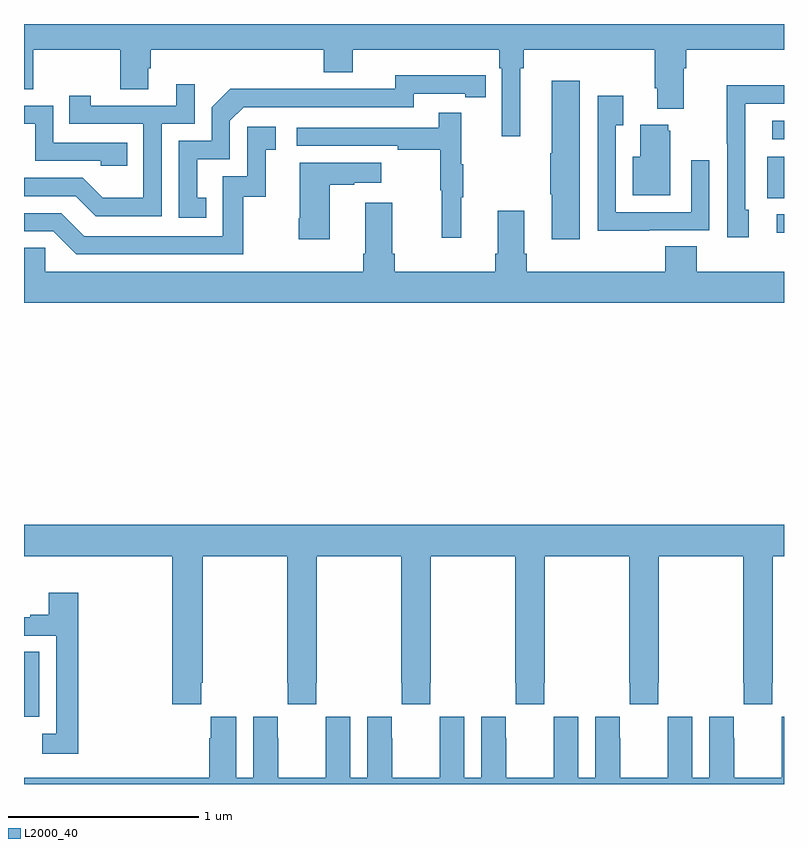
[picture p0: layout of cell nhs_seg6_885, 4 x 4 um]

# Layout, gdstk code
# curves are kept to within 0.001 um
import gdstk
lib = gdstk.Library(unit=1e-6, precision=1e-09)
def R(c, l, rs):  # rectangles x0, y0, x1, y1
    for r in rs: c.add(gdstk.rectangle(r[:2], r[2:], *l))
def P(c, l, *ps):  # polygons
    for p in ps: c.add(gdstk.Polygon(p, *l))
L2000_40 = (2000, 40)

nhs_seg6_885 = lib.new_cell('nhs_seg6_885')
R(nhs_seg6_885, L2000_40, [(167,915.853,167.08,916.196), (170.961,918.401,171,918.498), (170.912,918.583,171,918.802), (170.937,918.894,171,918.99)])
P(nhs_seg6_885, L2000_40, [(169.612,919.268),(169.631,919.268),(169.631,919.364),(170.321,919.364),(170.321,919.162),(170.333,919.162),(170.333,919.055),(170.473,919.055),(170.473,919.268),(170.486,919.268),(170.486,919.364),(171,919.364),(171,919.5),(167,919.5),(167,919.156),(167.049,919.156),(167.049,919.364),(167.506,919.364),(167.506,919.156),(167.653,919.156),(167.653,919.266),(167.666,919.266),(167.666,919.364),(168.578,919.364),(168.578,919.247),(168.73,919.247),(168.73,919.364),(169.502,919.364),(169.502,919.268),(169.515,919.268),(169.515,918.909),(169.612,918.909)],
  [(167.96,918.585),(167.911,918.585),(167.911,918.789),(168.084,918.789),(168.084,918.99),(168.156,919.062),(169.05,919.062),(169.05,919.134),(169.322,919.134),(169.322,919.114),(169.43,919.114),(169.43,919.23),(168.954,919.231),(168.954,919.158),(168.494,919.158),(168.494,919.16),(168.086,919.16),(167.988,919.062),(167.988,918.885),(167.814,918.885),(167.814,918.48),(167.96,918.48)],
  [(169.924,919.201),(169.778,919.201),(169.778,918.821),(169.771,918.821),(169.771,918.604),(169.778,918.604),(169.778,918.366),(169.924,918.366)],
  [(167.724,918.975),(167.898,918.975),(167.898,919.183),(167.801,919.183),(167.801,919.071),(167.35,919.071),(167.35,919.123),(167.239,919.123),(167.239,918.975),(167.628,918.975),(167.628,918.586),(167.414,918.586),(167.31,918.69),(167,918.69),(167,918.594),(167.273,918.594),(167.378,918.489),(167.724,918.489)],
  [(170.815,918.522),(170.796,918.522),(170.796,919.08),(171,919.08),(171,919.178),(170.698,919.178),(170.698,918.871),(170.7,918.871),(170.7,918.378),(170.815,918.378)],
  [(170.291,918.414),(170.607,918.414),(170.607,918.784),(170.511,918.784),(170.511,918.51),(170.115,918.51),(170.115,918.967),(170.155,918.967),(170.155,919.123),(170.019,919.123),(170.019,918.413),(170.291,918.413)],
  [(167.543,918.876),(167.154,918.876),(167.154,919.071),(167,919.071),(167,918.975),(167.058,918.975),(167.058,918.78),(167.403,918.78),(167.403,918.753),(167.543,918.753)],
  [(169.301,918.587),(169.312,918.587),(169.312,918.761),(169.301,918.761),(169.301,919.033),(169.183,919.033),(169.183,918.954),(168.435,918.954),(168.435,918.858),(168.967,918.858),(168.967,918.838),(169.191,918.838),(169.191,918.624),(169.198,918.624),(169.198,918.375),(169.301,918.375)],
  [(170.401,918.939),(170.39,918.939),(170.39,918.97),(170.243,918.97),(170.243,918.802),(170.204,918.802),(170.204,918.599),(170.401,918.599)],
  [(168.154,918.591),(168.272,918.591),(168.272,918.837),(168.325,918.837),(168.325,918.958),(168.174,918.958),(168.174,918.699),(168.045,918.699),(168.045,918.384),(167.316,918.384),(167.196,918.504),(167,918.504),(167,918.408),(167.154,918.408),(167.274,918.288),(168.154,918.288)],
  [(168.61,918.655),(168.737,918.655),(168.737,918.665),(168.88,918.665),(168.88,918.769),(168.452,918.769),(168.452,918.478),(168.445,918.478),(168.445,918.366),(168.61,918.366)],
  [(171,918.196),(170.54,918.196),(170.54,918.329),(170.375,918.329),(170.375,918.196),(169.646,918.196),(169.646,918.292),(169.633,918.292),(169.633,918.517),(169.493,918.517),(169.493,918.292),(169.481,918.292),(169.481,918.196),(168.95,918.196),(168.95,918.292),(168.937,918.292),(168.937,918.559),(168.797,918.559),(168.797,918.292),(168.785,918.292),(168.785,918.196),(167.112,918.196),(167.112,918.323),(167,918.323),(167,918.032),(171,918.032)],
  [(167.933,916.033),(167.94,916.033),(167.94,916.7),(168.385,916.7),(168.385,916.033),(168.387,916.033),(168.387,915.921),(168.537,915.921),(168.537,916.033),(168.54,916.033),(168.54,916.7),(168.985,916.7),(168.985,916.033),(168.987,916.033),(168.987,915.921),(169.137,915.921),(169.137,916.033),(169.14,916.033),(169.14,916.7),(169.585,916.7),(169.585,916.033),(169.587,916.033),(169.587,915.921),(169.737,915.921),(169.737,916.033),(169.74,916.033),(169.74,916.7),(170.185,916.7),(170.185,916.033),(170.187,916.033),(170.187,915.921),(170.337,915.921),(170.337,916.033),(170.34,916.033),(170.34,916.7),(170.785,916.7),(170.785,916.033),(170.787,916.033),(170.787,915.921),(170.937,915.921),(170.937,916.033),(170.94,916.033),(170.94,916.7),(171,916.7),(171,916.864),(167,916.864),(167,916.7),(167.78,916.7),(167.78,915.921),(167.933,915.921)],
  [(167.285,916.507),(167.129,916.507),(167.129,916.39),(167.033,916.39),(167.033,916.377),(167,916.377),(167,916.281),(167.169,916.281),(167.169,915.765),(167.097,915.765),(167.097,915.66),(167.285,915.66)],
  [(171,915.853),(170.988,915.853),(170.988,915.74),(170.987,915.74),(170.987,915.532),(170.737,915.532),(170.737,915.74),(170.736,915.74),(170.736,915.853),(170.606,915.853),(170.606,915.532),(170.518,915.532),(170.518,915.853),(170.388,915.853),(170.388,915.74),(170.387,915.74),(170.387,915.532),(170.137,915.532),(170.137,915.74),(170.136,915.74),(170.136,915.853),(170.006,915.853),(170.006,915.532),(169.918,915.532),(169.918,915.853),(169.788,915.853),(169.788,915.74),(169.787,915.74),(169.787,915.532),(169.537,915.532),(169.537,915.74),(169.536,915.74),(169.536,915.853),(169.406,915.853),(169.406,915.532),(169.318,915.532),(169.318,915.853),(169.188,915.853),(169.188,915.74),(169.187,915.74),(169.187,915.532),(168.937,915.532),(168.937,915.74),(168.936,915.74),(168.936,915.853),(168.806,915.853),(168.806,915.532),(168.718,915.532),(168.718,915.853),(168.588,915.853),(168.588,915.74),(168.587,915.74),(168.587,915.532),(168.337,915.532),(168.337,915.74),(168.336,915.74),(168.336,915.853),(168.206,915.853),(168.206,915.532),(168.118,915.532),(168.118,915.853),(167.984,915.853),(167.984,915.74),(167.975,915.74),(167.975,915.532),(167,915.532),(167,915.5),(171,915.5)])

lib.write_gds('nhs_seg6_885.gds')
